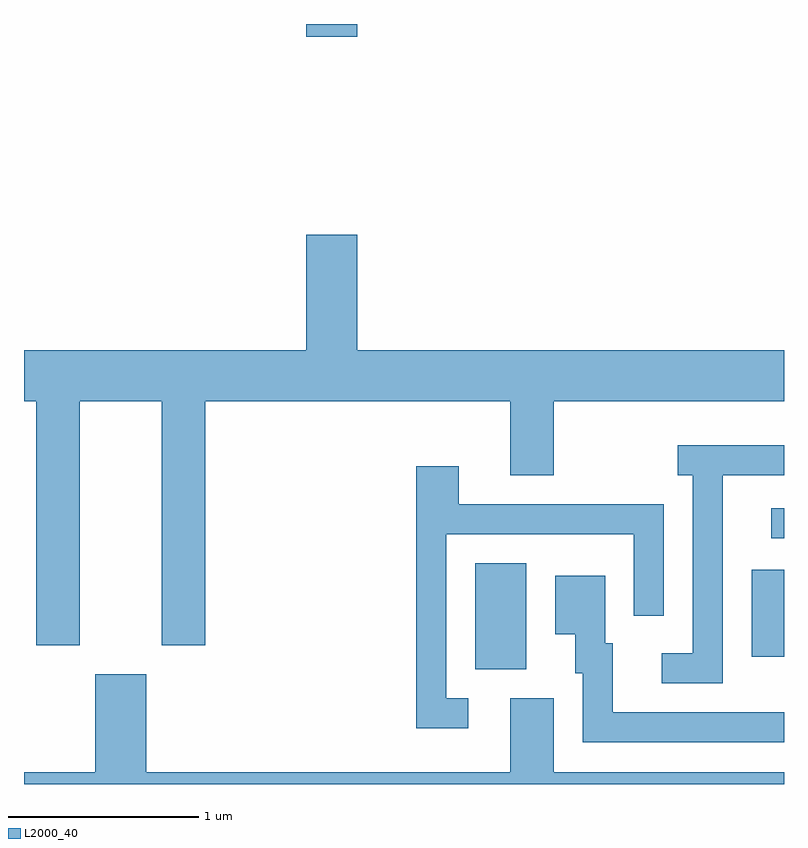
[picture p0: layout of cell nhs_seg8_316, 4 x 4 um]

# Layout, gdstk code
import gdstk
lib = gdstk.Library(unit=1e-6, precision=1e-09)
def R(c, l, rs):  # rectangles x0, y0, x1, y1
    for r in rs: c.add(gdstk.rectangle(r[:2], r[2:], *l))
def P(c, l, *ps):  # polygons
    for p in ps: c.add(gdstk.Polygon(p, *l))
L2000_40 = (2000, 40)

nhs_seg8_316 = lib.new_cell('nhs_seg8_316')
R(nhs_seg8_316, L2000_40, [(195.986,1894.946,196.254,1895.504), (197.441,1895.011,197.611,1895.469), (197.543,1895.636,197.611,1895.794), (195.096,1898.276,195.364,1898.342)])
P(nhs_seg8_316, L2000_40, [(193.904,1896.356),(194.336,1896.356),(194.336,1895.071),(194.564,1895.071),(194.564,1896.356),(196.171,1896.356),(196.171,1895.966),(196.399,1895.966),(196.399,1896.356),(197.611,1896.356),(197.611,1896.624),(195.364,1896.624),(195.364,1897.234),(195.096,1897.234),(195.096,1896.624),(193.611,1896.624),(193.611,1896.356),(193.676,1896.356),(193.676,1895.071),(193.904,1895.071)],
  [(197.289,1895.966),(197.611,1895.966),(197.611,1896.124),(197.053,1896.124),(197.053,1895.966),(197.131,1895.966),(197.131,1895.029),(196.968,1895.029),(196.968,1894.871),(197.289,1894.871)],
  [(195.948,1894.794),(195.834,1894.794),(195.834,1895.656),(196.821,1895.656),(196.821,1895.228),(196.979,1895.228),(196.979,1895.814),(195.899,1895.814),(195.899,1896.014),(195.676,1896.014),(195.676,1894.636),(195.948,1894.636)],
  [(197.611,1894.719),(196.709,1894.719),(196.709,1895.084),(196.669,1895.084),(196.669,1895.439),(196.406,1895.439),(196.406,1895.131),(196.511,1895.131),(196.511,1894.926),(196.551,1894.926),(196.551,1894.561),(197.611,1894.561)],
  [(197.611,1894.404),(196.399,1894.404),(196.399,1894.794),(196.171,1894.794),(196.171,1894.404),(194.254,1894.404),(194.254,1894.919),(193.986,1894.919),(193.986,1894.404),(193.611,1894.404),(193.611,1894.342),(197.611,1894.342)])

lib.write_gds('nhs_seg8_316.gds')
